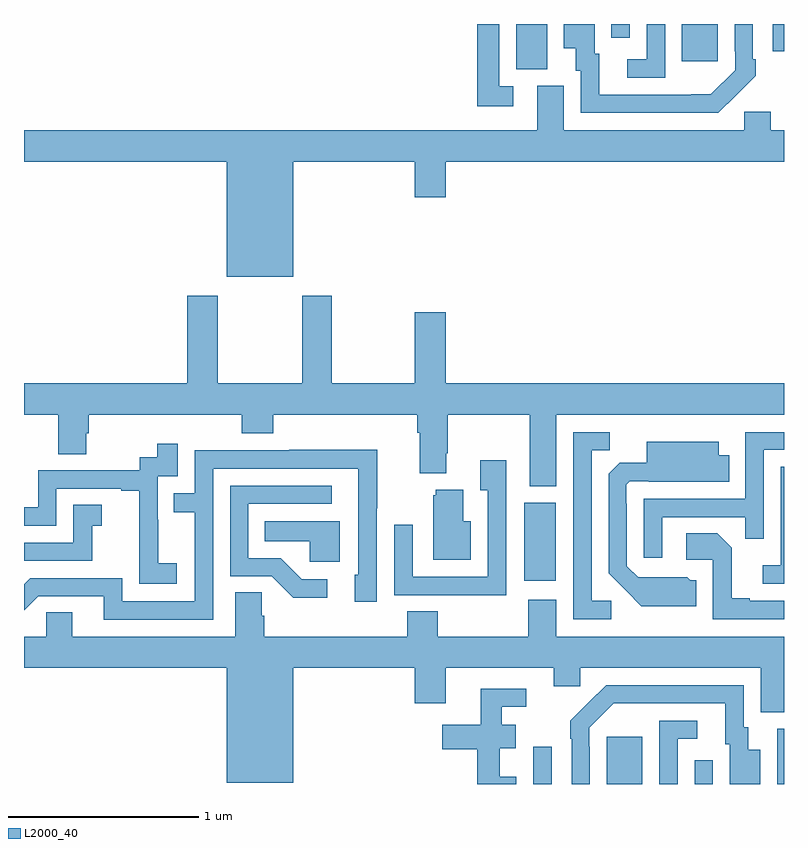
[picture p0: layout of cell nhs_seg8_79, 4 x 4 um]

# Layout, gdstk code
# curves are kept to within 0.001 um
import gdstk
lib = gdstk.Library(unit=1e-6, precision=1e-09)
def R(c, l, rs):  # rectangles x0, y0, x1, y1
    for r in rs: c.add(gdstk.rectangle(r[:2], r[2:], *l))
def P(c, l, *ps):  # polygons
    for p in ps: c.add(gdstk.Polygon(p, *l))
L2000_40 = (2000, 40)

nhs_seg8_79 = lib.new_cell('nhs_seg8_79')
R(nhs_seg8_79, L2000_40, [(117.681,1103.9,117.777,1104.097), (118.067,1103.9,118.255,1104.148), (118.53,1103.9,118.626,1104.025), (118.964,1103.9,119,1104.192), (117.632,1104.969,117.799,1105.381), (117.59,1107.661,117.754,1107.9), (118.463,1107.705,118.651,1107.9), (118.941,1107.756,119,1107.9), (118.092,1107.828,118.188,1107.9)])
P(nhs_seg8_79, L2000_40, [(117.574,1107.573),(117.501,1107.573),(117.501,1107.9),(117.385,1107.9),(117.385,1107.468),(117.574,1107.468)],
  [(118.374,1107.9),(118.278,1107.9),(118.278,1107.714),(118.176,1107.714),(118.176,1107.618),(118.374,1107.618)],
  [(118.745,1107.523),(118.746,1107.522),(118.851,1107.627),(118.851,1107.715),(118.836,1107.715),(118.836,1107.9),(118.74,1107.9),(118.74,1107.757),(118.743,1107.757),(118.743,1107.657),(118.615,1107.529),(118.511,1107.528),(118.027,1107.528),(118.027,1107.744),(118.003,1107.744),(118.003,1107.9),(117.842,1107.9),(117.842,1107.773),(117.905,1107.773),(117.905,1107.654),(117.93,1107.654),(117.93,1107.432),(118.654,1107.432)],
  [(116.416,1107.176),(117.056,1107.176),(117.056,1106.988),(117.22,1106.988),(117.22,1107.176),(119,1107.176),(119,1107.34),(118.93,1107.34),(118.93,1107.438),(118.791,1107.438),(118.791,1107.34),(117.841,1107.34),(117.841,1107.576),(117.701,1107.576),(117.701,1107.34),(115,1107.34),(115,1107.176),(116.066,1107.176),(116.066,1106.57),(116.416,1106.57)],
  [(117.802,1105.844),(119,1105.844),(119,1106.008),(117.22,1106.008),(117.22,1106.383),(117.056,1106.383),(117.056,1106.008),(116.619,1106.008),(116.619,1106.47),(116.464,1106.47),(116.464,1106.008),(116.019,1106.008),(116.019,1106.47),(115.859,1106.47),(115.859,1106.008),(115,1106.008),(115,1105.844),(115.18,1105.844),(115.18,1105.636),(115.327,1105.636),(115.327,1105.746),(115.34,1105.746),(115.34,1105.844),(116.147,1105.844),(116.147,1105.745),(116.312,1105.745),(116.312,1105.844),(117.071,1105.844),(117.071,1105.748),(117.083,1105.748),(117.083,1105.535),(117.223,1105.535),(117.223,1105.642),(117.231,1105.642),(117.231,1105.844),(117.662,1105.844),(117.662,1105.466),(117.802,1105.466)],
  [(118.359,1105.305),(118.795,1105.305),(118.795,1105.192),(118.893,1105.192),(118.893,1105.659),(119,1105.659),(119,1105.752),(118.797,1105.752),(118.797,1105.401),(118.263,1105.401),(118.263,1105.092),(118.359,1105.092)],
  [(118.09,1104.864),(117.987,1104.864),(117.987,1105.657),(118.083,1105.657),(118.083,1105.752),(117.891,1105.752),(117.891,1104.768),(118.09,1104.768)],
  [(118.537,1104.972),(118.506,1104.972),(118.49,1104.988),(118.233,1104.987),(118.173,1105.047),(118.173,1105.376),(118.17,1105.376),(118.17,1105.476),(118.188,1105.494),(118.288,1105.494),(118.288,1105.49),(118.712,1105.49),(118.712,1105.63),(118.657,1105.63),(118.657,1105.702),(118.277,1105.702),(118.277,1105.591),(118.136,1105.591),(118.077,1105.532),(118.077,1105.01),(118.249,1104.836),(118.537,1104.836)],
  [(115.804,1105.063),(115.706,1105.063),(115.706,1105.292),(115.704,1105.292),(115.704,1105.521),(115.809,1105.521),(115.809,1105.69),(115.701,1105.69),(115.701,1105.62),(115.608,1105.62),(115.608,1105.551),(115.074,1105.551),(115.074,1105.356),(115,1105.356),(115,1105.26),(115.17,1105.26),(115.17,1105.455),(115.511,1105.455),(115.511,1105.443),(115.607,1105.443),(115.607,1105.159),(115.606,1105.159),(115.606,1104.953),(115.804,1104.953)],
  [(115.995,1105.56),(116.759,1105.56),(116.76,1105.002),(116.741,1105.002),(116.741,1104.858),(116.856,1104.858),(116.856,1105.351),(116.859,1105.351),(116.859,1105.658),(116.395,1105.658),(116.395,1105.656),(115.899,1105.656),(115.899,1105.431),(115.789,1105.431),(115.789,1105.33),(115.899,1105.33),(115.899,1104.861),(115.518,1104.861),(115.518,1104.984),(115.032,1104.984),(115,1104.952),(115,1104.814),(115.074,1104.888),(115.421,1104.888),(115.421,1104.765),(115.995,1104.765)],
  [(117.537,1105.603),(117.401,1105.603),(117.401,1105.447),(117.441,1105.447),(117.441,1104.99),(117.045,1104.99),(117.045,1105.264),(116.949,1105.264),(116.949,1104.894),(117.265,1104.894),(117.265,1104.893),(117.537,1104.893)],
  [(119,1105.571),(118.983,1105.571),(118.983,1105.051),(118.887,1105.051),(118.887,1104.954),(119,1104.954)],
  [(116.596,1104.978),(116.461,1104.978),(116.35,1105.089),(116.181,1105.089),(116.181,1105.374),(116.62,1105.374),(116.62,1105.47),(116.085,1105.47),(116.085,1104.993),(116.304,1104.993),(116.417,1104.881),(116.596,1104.881)],
  [(117.352,1105.282),(117.313,1105.282),(117.313,1105.45),(117.167,1105.45),(117.167,1105.419),(117.155,1105.419),(117.155,1105.079),(117.352,1105.079)],
  [(115.359,1105.259),(115.408,1105.259),(115.408,1105.369),(115.26,1105.369),(115.26,1105.17),(115,1105.17),(115,1105.074),(115.359,1105.074)],
  [(116.662,1105.282),(116.266,1105.282),(116.266,1105.178),(116.505,1105.178),(116.505,1105.07),(116.662,1105.07)],
  [(119,1104.864),(118.819,1104.864),(118.819,1104.877),(118.725,1104.877),(118.725,1105.144),(118.649,1105.22),(118.485,1105.22),(118.485,1105.08),(118.626,1105.08),(118.626,1104.768),(119,1104.768)],
  [(116.416,1104.512),(117.056,1104.512),(117.056,1104.324),(117.22,1104.324),(117.22,1104.512),(117.788,1104.512),(117.788,1104.414),(117.927,1104.414),(117.927,1104.512),(118.877,1104.512),(118.877,1104.277),(119,1104.277),(119,1104.676),(117.802,1104.676),(117.802,1104.871),(117.655,1104.871),(117.655,1104.676),(117.177,1104.676),(117.177,1104.809),(117.017,1104.809),(117.017,1104.676),(116.264,1104.676),(116.264,1104.785),(116.25,1104.785),(116.25,1104.908),(116.111,1104.908),(116.111,1104.676),(115.255,1104.676),(115.255,1104.803),(115.116,1104.803),(115.116,1104.676),(115,1104.676),(115,1104.512),(116.066,1104.512),(116.066,1103.906),(116.416,1103.906)],
  [(117.978,1104.095),(117.975,1104.095),(117.975,1104.195),(118.104,1104.324),(118.691,1104.324),(118.691,1104.108),(118.715,1104.108),(118.715,1103.9),(118.876,1103.9),(118.876,1104.079),(118.813,1104.079),(118.813,1104.198),(118.788,1104.198),(118.788,1104.42),(118.064,1104.42),(117.973,1104.329),(117.972,1104.33),(117.875,1104.232),(117.875,1104.137),(117.882,1104.137),(117.882,1103.9),(117.978,1103.9)],
  [(117.592,1103.938),(117.503,1103.938),(117.503,1104.089),(117.589,1104.089),(117.589,1104.211),(117.514,1104.211),(117.514,1104.306),(117.643,1104.306),(117.643,1104.402),(117.404,1104.402),(117.404,1104.211),(117.201,1104.211),(117.201,1104.082),(117.385,1104.082),(117.385,1103.9),(117.592,1103.9)],
  [(118.44,1104.138),(118.543,1104.138),(118.543,1104.234),(118.344,1104.234),(118.344,1103.9),(118.44,1103.9)])

lib.write_gds('nhs_seg8_79.gds')
